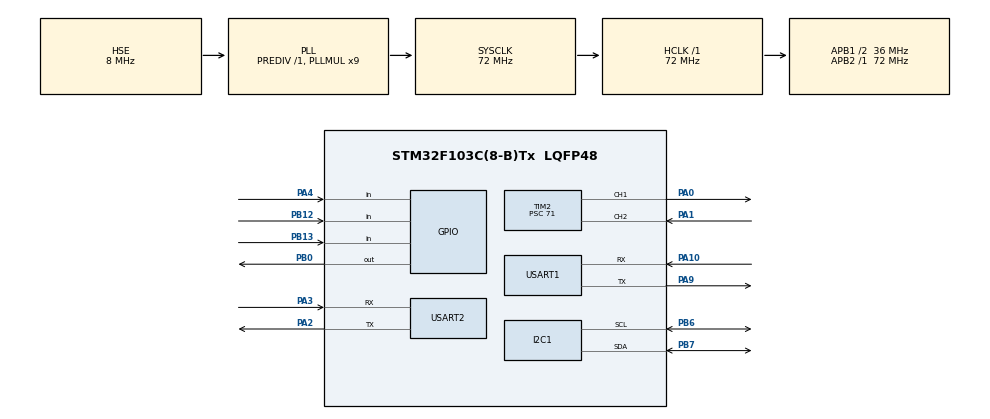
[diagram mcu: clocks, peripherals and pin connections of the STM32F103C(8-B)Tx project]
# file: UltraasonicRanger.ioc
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Mcu.Family=STM32F1
Mcu.Name=STM32F103C(8-B)Tx
Mcu.Package=LQFP48
NVIC.PriorityGroup=NVIC_PRIORITYGROUP_4
PA0-WKUP.Signal=S_TIM2_CH1
PA1.Signal=S_TIM2_CH2
PA10.Mode=Asynchronous
PA10.Signal=USART1_RX
PA13.Mode=Serial_Wire
PA13.Signal=SYS_JTMS-SWDIO
PA14.Mode=Serial_Wire
PA14.Signal=SYS_JTCK-SWCLK
PA2.Mode=Asynchronous
PA2.Signal=USART2_TX
PA3.Mode=Asynchronous
PA3.Signal=USART2_RX
PA4.GPIO_PuPd=GPIO_PULLUP
PA4.Signal=GPIO_Input
PA9.Mode=Asynchronous
PA9.Signal=USART1_TX
PB0.Signal=GPIO_Output
PB12.GPIO_PuPd=GPIO_PULLUP
PB12.Signal=GPIO_Input
PB13.GPIO_PuPd=GPIO_PULLUP
PB13.Signal=GPIO_Input
PB6.Mode=I2C
PB6.Signal=I2C1_SCL
PB7.Mode=I2C
PB7.Signal=I2C1_SDA
PC14-OSC32_IN.Mode=LSE-External-Oscillator
PC14-OSC32_IN.Signal=RCC_OSC32_IN
PC15-OSC32_OUT.Mode=LSE-External-Oscillator
PC15-OSC32_OUT.Signal=RCC_OSC32_OUT
PD0-OSC_IN.Mode=HSE-External-Oscillator
PD0-OSC_IN.Signal=RCC_OSC_IN
PD1-OSC_OUT.Mode=HSE-External-Oscillator
PD1-OSC_OUT.Signal=RCC_OSC_OUT
ProjectManager.HeapSize=0x200
ProjectManager.StackSize=0x400
ProjectManager.TargetToolchain=MDK-ARM V5.32
RCC.AHBFreq_Value=72000000
RCC.APB1CLKDivider=RCC_HCLK_DIV2
RCC.APB1Freq_Value=36000000
RCC.APB1TimFreq_Value=72000000
RCC.APB2Freq_Value=72000000
RCC.APB2TimFreq_Value=72000000
RCC.HCLKFreq_Value=72000000
RCC.PLLMUL=RCC_PLL_MUL9
RCC.PLLSourceVirtual=RCC_PLLSOURCE_HSE
RCC.SYSCLKFreq_VALUE=72000000
RCC.SYSCLKSource=RCC_SYSCLKSOURCE_PLLCLK
RCC.USBFreq_Value=72000000
SH.S_TIM2_CH1.0=TIM2_CH1,Output Compare1 CH1
SH.S_TIM2_CH2.0=TIM2_CH2,Input_Capture2_from_TI2
TIM2.Channel-Input_Capture2_from_TI2=TIM_CHANNEL_2
TIM2.Channel-Output\ Compare1\ No\ Output=TIM_CHANNEL_1
TIM2.Prescaler=71
USART1.VirtualMode=VM_ASYNC
USART2.VirtualMode=VM_ASYNC
VP_TIM2_VS_ClockSourceINT.Mode=Internal
VP_TIM2_VS_no_output1.Mode=Output Compare1 No Output
board=custom

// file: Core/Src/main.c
/* USER CODE BEGIN Header */
/**
  ******************************************************************************
  * @file           : main.c
  * @brief          : Main program body
  ******************************************************************************
  * @attention
  *
  * Copyright (c) 2026 STMicroelectronics.
  * All rights reserved.
  *
  * This software is licensed under terms that can be found in the LICENSE file
  * in the root directory of this software component.
  * If no LICENSE file comes with this software, it is provided AS-IS.
  *
  ******************************************************************************
  */
/* USER CODE END Header */
#include "main.h"
#include "i2c.h"
#include "tim.h"
#include "usart.h"
#include "gpio.h"

/* USER CODE BEGIN Includes */
#include "buzzer.h"
#include "key.h"
#include "hcsr04.h"
#include "ssd1306.h"
#include "syn6288.h"
#include <stdio.h>
/* USER CODE END Includes */

/* USER CODE BEGIN PV */

/* 非阻塞报警状态机变 */
static uint8_t  alarm_active  = 0;  /* 0=正常, 1=报警中 */
static uint32_t alarm_tick    = 0;  /* 报警节奏计时（毫秒） */
static uint32_t voice_tick    = 0;  /* 语音播报间隔计时 */
static uint32_t last_voice_d  = 0;  /* 上次播报时的距离 */
/* USER CODE END PV */

void SystemClock_Config(void);

int main(void)
{

  /* MCU Configuration--------------------------------------------------------*/

  /* Reset of all peripherals, Initializes the Flash interface and the Systick. */
  HAL_Init();

  /* Configure the system clock */
  SystemClock_Config();

  /* Initialize all configured peripherals */
  MX_GPIO_Init();
  MX_I2C1_Init();
  MX_TIM2_Init();
  MX_USART1_UART_Init();
  MX_USART2_UART_Init();
  /* USER CODE BEGIN 2 */

  /* ===== 初始化所有外设模块 ===== */

  /* 开机提示：蜂鸣器短响 */
  Buzzer_BeepShort(100);

  /* OLED 初始化并显示开机画面 */
  SSD1306_Init();
  SSD1306_ClearBuffer();
  SSD1306_ShowString_6x8(20, 10, "Ultrasonic", 1);
  SSD1306_ShowString_6x8(24, 25, "Ranger v1.0", 1);
  SSD1306_ShowString_6x8(28, 50, "Loading...", 1);
  SSD1306_UpdateScreen();
  HAL_Delay(1000);

  /* 超声波模块初始化（使能 TIM2 中断、配置 TRIG 引脚） */
  HCSR04_Init();

  /* SYN6288 语音模块初始化 */
  SYN6288_Init();

  /* 显示就绪画面 */
  SSD1306_ClearBuffer();
  SSD1306_ShowString_6x8(20, 30, "System Ready", 1);
  SSD1306_UpdateScreen();
  HAL_Delay(800);

  /* USER CODE END 2 */

  /* Infinite loop */
  while (1)
  {

    /* USER CODE BEGIN 3 */
    uint8_t  key_val;
    float    distance;
    uint8_t  threshold;
    uint32_t now;

    /* ---- 1. 按键扫描（阻塞式，按一下才走） ---- */
    key_val = Key_Scan();
    if (key_val != KEY_NONE) {
        Key_Process(key_val);           /* 更新阈值 */
        Buzzer_BeepShort(50);           /* 按键反馈音 */
    }

    /* ---- 2. 超声波测距 ---- */
    HCSR04_Trigger();

    /* 等测量完成（非阻塞：用超时保护） */
    {
        uint32_t t0 = HAL_GetTick();
        while (!HCSR04_IsDone()) {
            if (HAL_GetTick() - t0 > 100) break;  /* 100ms 超时 */
        }
    }

    /*
     * 关键：超时时强制 distance = -1，防止读到旧值。
     * 障石物移走 → 无回波超时 → 如果不做此判断，HCSR04_GetDistance() 返回旧值
     * → 程序以为障碍物还在 → 蜂鸣器一直响
     */
    if (!HCSR04_IsDone()) {
        distance = -1.0f;               /* 超时：无回波，标记无效 */
    } else {
        distance = HCSR04_GetDistance(); /* 成功：取新值 */
    }
    threshold = Key_GetThreshold();     /* 读取报警阈值 */
    now       = HAL_GetTick();          /* 当前系统滴答（毫秒） */

    printf("Dist: %.1f cm, Thr: %d\r\n", distance, threshold);  /* 调试输出 */

    /* ---- 3. OLED 显示刷新 ---- */
    SSD1306_ClearBuffer();

    /* 第一行：标题 */
    SSD1306_ShowString_6x8(0, 0, "Distance:", 1);

    if (distance >= 0 && distance <= 400) {
        /* 大号数字 + 单位 "cm"（8x16大字紧跟） */
        SSD1306_ShowNum(20, 10, (int32_t)distance, 3, 2);
        SSD1306_ShowString_8x16(50, 10, "cm", 1);
    } else {
        SSD1306_ShowString_6x8(20, 16, "-- NO SIGNAL --", 1);
        SSD1306_ShowString_6x8(0, 34, "Out of range!", 1);
    }

    /* 底部报警行：全部 8x16 大字 */
    SSD1306_ShowString_8x16(0,  40, "Alarm:", 1);
    SSD1306_ShowNum(54, 40, threshold, 2, 2);
    SSD1306_ShowString_8x16(78, 40, "cm", 1);

    SSD1306_UpdateScreen();

    /* ---- 4. 非阻塞蜂鸣器报警 ---- */
    if (distance >= 0 && distance <= threshold) {
        /*
         * 非阻塞报警：不用 HAL_Delay，用滴答定时器计时。
         * 100ms 响，100ms 停，循环 → 急促 "滴滴" 声。
         */
        alarm_active = 1;

        if (now - alarm_tick >= 100) {
            alarm_tick = now;
            BUZZER_TOGGLE();   /* 翻转蜂鸣器状态（宏，操作 BSRR 寄存器） */
        }
    } else {
        /* 距离正常 → 关闭报警 */
        if (alarm_active) {
            BUZZER_OFF();
            alarm_active = 0;
        }
    }

    /* ---- 5. 语音播报（每 3 秒播报一次，距离变化 >5cm 立即播报） ---- */
    if (distance >= 0 && distance <= 400) {
        uint8_t dist_int = (uint8_t)distance;
        uint8_t dist_diff = (dist_int > last_voice_d)
                            ? (dist_int - last_voice_d)
                            : (last_voice_d - dist_int);

        if (now - voice_tick >= 3000 || dist_diff >= 5) {
            voice_tick   = now;
            last_voice_d = dist_int;
            printf("[MAIN] Triggering voice: %d cm\r\n", dist_int);
            SYN6288_SpeakDistance(dist_int);
        }
    }

    /* ---- 主循环间隔 200ms（5Hz 刷新） ---- */
    HAL_Delay(200);

  }
  /* USER CODE END 3 */
}

void SystemClock_Config(void)
{
  RCC_OscInitTypeDef RCC_OscInitStruct = {0};
  RCC_ClkInitTypeDef RCC_ClkInitStruct = {0};

  /** Initializes the RCC Oscillators according to the specified parameters
  * in the RCC_OscInitTypeDef structure.
  */
  RCC_OscInitStruct.OscillatorType = RCC_OSCILLATORTYPE_HSE;
  RCC_OscInitStruct.HSEState = RCC_HSE_ON;
  RCC_OscInitStruct.HSEPredivValue = RCC_HSE_PREDIV_DIV1;
  RCC_OscInitStruct.HSIState = RCC_HSI_ON;
  RCC_OscInitStruct.PLL.PLLState = RCC_PLL_ON;
  RCC_OscInitStruct.PLL.PLLSource = RCC_PLLSOURCE_HSE;
  RCC_OscInitStruct.PLL.PLLMUL = RCC_PLL_MUL9;
  if (HAL_RCC_OscConfig(&RCC_OscInitStruct) != HAL_OK)
  {
    Error_Handler();
  }

  /** Initializes the CPU, AHB and APB buses clocks
  */
  RCC_ClkInitStruct.ClockType = RCC_CLOCKTYPE_HCLK|RCC_CLOCKTYPE_SYSCLK
                              |RCC_CLOCKTYPE_PCLK1|RCC_CLOCKTYPE_PCLK2;
  RCC_ClkInitStruct.SYSCLKSource = RCC_SYSCLKSOURCE_PLLCLK;
  RCC_ClkInitStruct.AHBCLKDivider = RCC_SYSCLK_DIV1;
  RCC_ClkInitStruct.APB1CLKDivider = RCC_HCLK_DIV2;
  RCC_ClkInitStruct.APB2CLKDivider = RCC_HCLK_DIV1;

  if (HAL_RCC_ClockConfig(&RCC_ClkInitStruct, FLASH_LATENCY_2) != HAL_OK)
  {
    Error_Handler();
  }
}

/* USER CODE BEGIN 4 */

/**
  * @brief 重定向 printf 到 USART1（调试串口）
  *
  * Keil 下需要在 Target → Code Generation 中勾选 "Use MicroLIB"。
  * 否则链接时报 __use_no_semihosting 相关的错误。
  *
  * MicroLIB 是 ARM 的精简 C 库，printf 通过 fputc 输出：
  *   printf("Hello") → 底层调用 fputc('H') → fputc('e') → ...
  *
  * 这里把 fputc 重定向到 USART1_TX（PA9）。
  */
#ifdef __GNUC__
  /* GCC 编译器用 _write */
  int _write(int fd, char *ptr, int len) {
      HAL_UART_Transmit(&huart1, (uint8_t*)ptr, len, 100);
      return len;
  }
#else
  /* Keil ARMCC 编译器用 fputc */
  int fputc(int ch, FILE *f) {
      HAL_UART_Transmit(&huart1, (uint8_t *)&ch, 1, 10);
      return ch;
  }
#endif

/* USER CODE END 4 */

void Error_Handler(void)
{
  __disable_irq();
  while (1)
  {
  }
}
